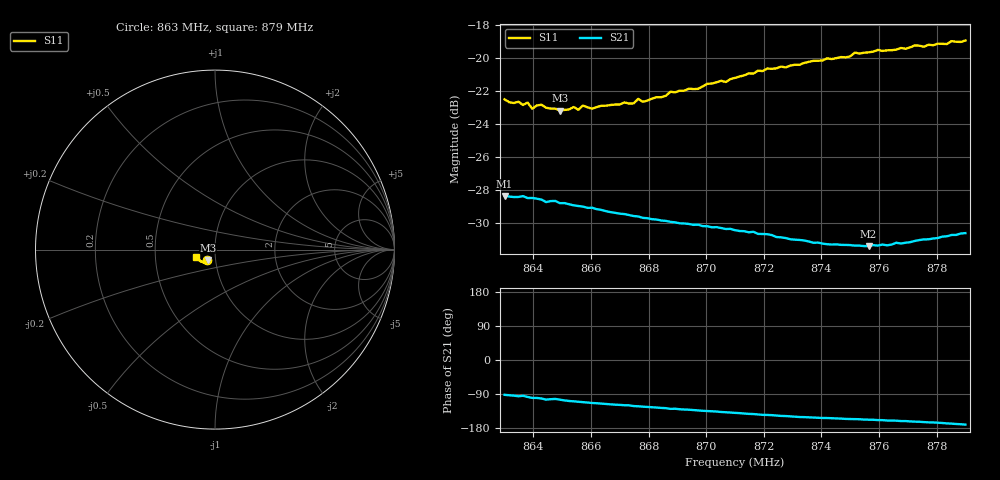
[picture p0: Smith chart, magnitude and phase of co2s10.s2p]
# HZ S RI R 50
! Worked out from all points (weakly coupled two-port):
!   101 points, 863 MHz to 879 MHz, reference 50 ohm
!   highest |S21| = -28.36 dB at 863 MHz (marker M1); lowest = -31.4 dB at 875.64 MHz (marker M2)
!   lowest |S11| = -23.2 dB at 864.92 MHz (marker M3), VSWR 1.15, Z = 46 - j5.32 ohm
!   |S11| at or under -10 dB: start of sweep to end of sweep
!   S12 and S22 are empty: the file has one direction only
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8.63e8  -0.0455 -0.0594  -0.00127 -0.0382  0 0  0 0
8.6364e8  -0.0421 -0.0584  -0.00297 -0.038  0 0  0 0
8.638e8  -0.0444 -0.0581  -0.0049 -0.0373  0 0  0 0
8.6396e8  -0.0414 -0.0565  -0.00656 -0.0371  0 0  0 0
8.6428e8  -0.0415 -0.0589  -0.00745 -0.0365  0 0  0 0
8.6492e8  -0.0385 -0.0575  -0.00925 -0.0351  0 0  0 0
8.654e8  -0.0399 -0.0587  -0.0117 -0.0338  0 0  0 0
8.6556e8  -0.0387 -0.0578  -0.0123 -0.0334  0 0  0 0
8.6572e8  -0.0394 -0.0599  -0.0129 -0.0331  0 0  0 0
8.6604e8  -0.0382 -0.0588  -0.014 -0.0323  0 0  0 0
8.6748e8  -0.0382 -0.0619  -0.0174 -0.0283  0 0  0 0
8.6764e8  -0.0401 -0.0635  -0.0176 -0.028  0 0  0 0
8.6844e8  -0.0406 -0.0642  -0.0191 -0.0259  0 0  0 0
8.6876e8  -0.0438 -0.0656  -0.02 -0.0248  0 0  0 0
8.6972e8  -0.0436 -0.0677  -0.0213 -0.0229  0 0  0 0
8.7004e8  -0.0454 -0.0699  -0.0218 -0.022  0 0  0 0
8.71e8  -0.0512 -0.0702  -0.0229 -0.0195  0 0  0 0
8.7212e8  -0.0584 -0.072  -0.024 -0.0168  0 0  0 0
8.7372e8  -0.0683 -0.07  -0.0243 -0.013  0 0  0 0
8.7564e8  -0.0829 -0.0624  -0.0249 -0.0103  0 0  0 0
8.7644e8  -0.0877 -0.0584  -0.0256 -0.00931  0 0  0 0
8.79e8  -0.1053 -0.0403  -0.0291 -0.00485  0 0  0 0
